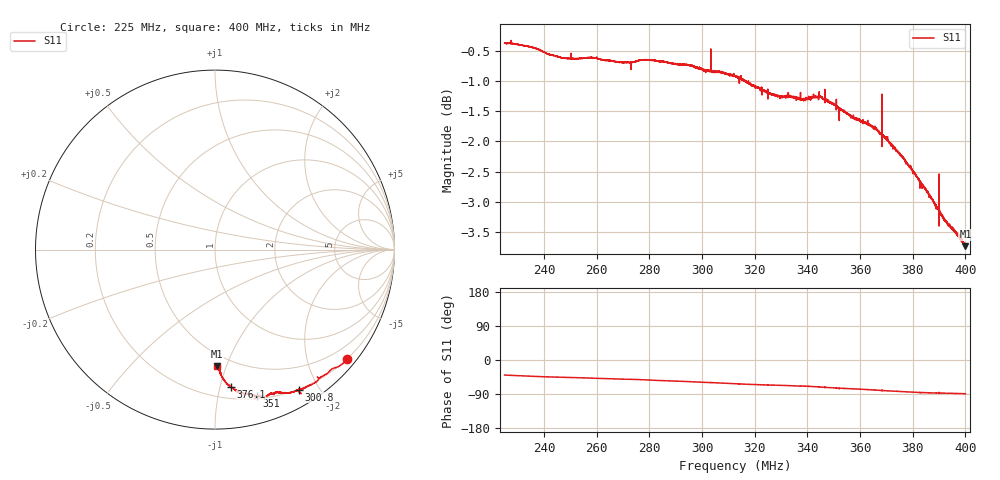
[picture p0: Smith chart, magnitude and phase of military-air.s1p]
! Calibrated averaged scanner-service zoom
# Hz S RI R 50
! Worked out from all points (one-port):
!   10001 points, 225 MHz to 400 MHz, reference 50 ohm
!   lowest |S11| = -3.7 dB at 400 MHz (marker M1), VSWR 4.73, Z = 20.6 - j46.5 ohm
!   |S11| at or under -10 dB: nowhere
!   S11 on the Smith chart (normalised r, x): 225 MHz: 0.19, -2.76; 300.8 MHz: 0.19, -1.75; 351 MHz: 0.22, -1.30; 376.1 MHz: 0.29, -1.08; 400 MHz: 0.41, -0.93
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2.25e8  0.7367 -0.6121
2.375475e8  0.6859 -0.6531
2.413275e8  0.669 -0.6578
2.46875e8  0.6531 -0.6639
2.564125e8  0.6315 -0.6849
2.6875e8  0.5901 -0.7105
2.731425e8  0.581 -0.7176
2.76695e8  0.5731 -0.7292
2.83135e8  0.5449 -0.7482
2.90625e8  0.5161 -0.7612
3.00775e8  0.469 -0.7804
3.125e8  0.4139 -0.7985
3.225625e8  0.3647 -0.7978
3.2944e8  0.3409 -0.7959
3.34375e8  0.322 -0.8021
3.379625e8  0.3123 -0.8012
3.42145e8  0.2941 -0.8118
3.4519e8  0.2758 -0.8198
3.510175e8  0.235 -0.8167
3.5625e8  0.205 -0.8089
3.620075e8  0.1749 -0.8038
3.664e8  0.146 -0.7985
3.76095e8  0.0877 -0.7662
3.78125e8  0.0772 -0.7571
3.827275e8  0.0555 -0.734
3.89115e8  0.0343 -0.6998
3.9272e8  0.0284 -0.681
4e8  0.0125 -0.6505
